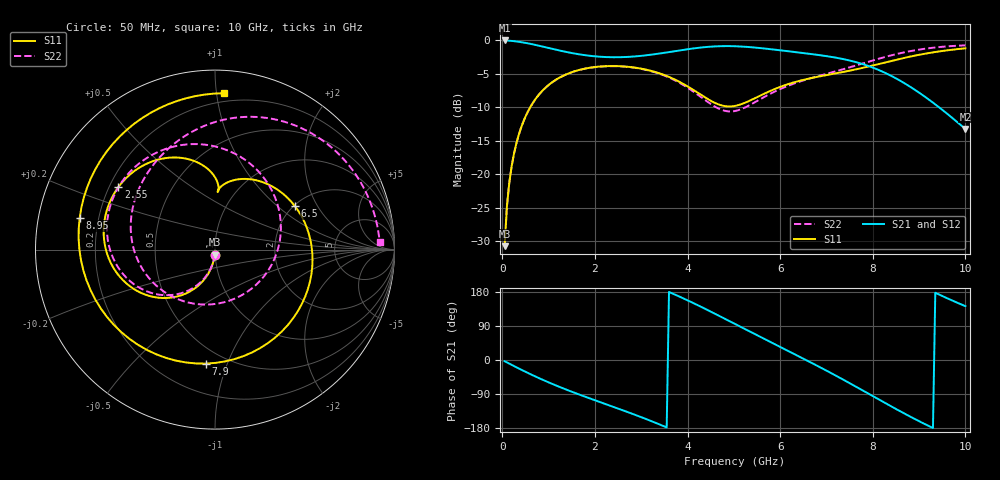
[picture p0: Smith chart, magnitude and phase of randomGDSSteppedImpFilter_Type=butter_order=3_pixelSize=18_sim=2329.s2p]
! freq	dB(S11)	phase(S11)	dB(S12)	phase(S12)
!  dB(S21)	phase(S21)	dB(S22)	phase(S22)
!S-par simulation data
#  GHz  S  DB  R 50
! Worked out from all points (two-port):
!   200 points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, 50 MHz to 10 GHz, reference 50 ohm
!   highest |S21| = -0.01 dB at 50 MHz (marker M1); lowest = -13.3 dB at 10 GHz (marker M2)
!   |S21| within 3 dB of the highest: start of sweep to 7.502 GHz
!   lowest |S11| = -30.8 dB at 50 MHz (marker M3), VSWR 1.06, Z = 49.8 - j2.88 ohm
!   |S11| at or under -10 dB: start of sweep to 603.3 MHz
!   |S22| runs from -30.8 to -0.7 dB; largest |S21 - S12| = 0
!   S11 on the Smith chart (normalised r, x): 50 MHz: 1.00, -0.06; 2.55 GHz: 0.24, +0.28; 6.5 GHz: 2.03, +1.32; 7.9 GHz: 0.39, -0.84; 8.95 GHz: 0.13, +0.11; 10 GHz: 0.14, +1.05
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0.05  -30.77 -93.2  -0.01 -3.2  -0.01 -3.2  -30.77 -93.4
0.1  -24.79 -96.5  -0.03 -6.4  -0.03 -6.4  -24.79 -96.9
0.2  -18.89 -102.7  -0.08 -12.7  -0.08 -12.7  -18.89 -103.5
0.5  -11.41 -120.5  -0.37 -31.1  -0.37 -31.1  -11.41 -122.6
1.05  -6.39 -149.9  -1.22 -61.7  -1.22 -61.7  -6.40 -154.5
1.75  -4.27 178.6  -2.18 -95.1  -2.18 -95.1  -4.28 170.1
2.55  -3.86 147.0  -2.51 -130.4  -2.51 -130.4  -3.88 131.5
3.4  -4.94 115.1  -1.96 -170.2  -1.96 -170.2  -5.00 84.7
3.85  -6.28 99.7  -1.47 166.0  -1.47 166.0  -6.43 53.3
4.25  -7.95 89.8  -1.09 142.9  -1.09 142.9  -8.27 18.0
4.7  -9.64 86.7  -0.87 115.3  -0.87 115.3  -10.28 -34.1
5.05  -9.76 87.4  -0.88 93.4  -0.88 93.4  -10.52 -80.5
5.85  -7.36 66.9  -1.36 43.6  -1.36 43.6  -7.76 -160.8
6.5  -5.90 28.4  -1.89 3.6  -1.89 3.6  -5.99 158.3
6.7  -5.59 13.8  -2.06 -8.9  -2.06 -8.9  -5.58 148.0
7.3  -4.80 -36.7  -2.71 -47.7  -2.71 -47.7  -4.43 120.7
7.9  -3.92 -94.5  -3.81 -88.4  -3.81 -88.4  -3.21 95.1
8.35  -3.15 -138.6  -5.13 -119.1  -5.13 -119.1  -2.32 75.1
8.65  -2.66 -166.7  -6.26 -139.1  -6.26 -139.1  -1.83 61.5
8.95  -2.22 166.8  -7.58 -158.4  -7.58 -158.4  -1.43 47.8
9.5  -1.58 122.6  -10.37 168.9  -10.37 168.9  -0.95 23.4
10  -1.18 86.8  -13.26 142.1  -13.26 142.1  -0.74 2.5
